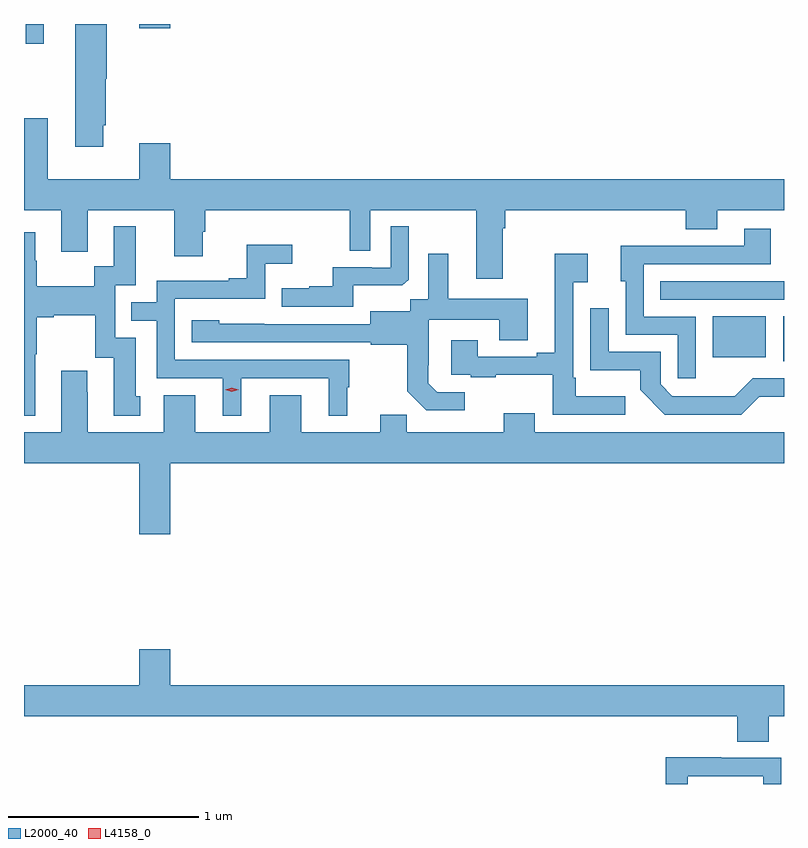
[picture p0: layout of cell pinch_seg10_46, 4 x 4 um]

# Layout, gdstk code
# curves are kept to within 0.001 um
import gdstk
lib = gdstk.Library(unit=1e-6, precision=1e-09)
def R(c, l, rs):  # rectangles x0, y0, x1, y1
    for r in rs: c.add(gdstk.rectangle(r[:2], r[2:], *l))
def P(c, l, *ps):  # polygons
    for p in ps: c.add(gdstk.Polygon(p, *l))
L2000_40 = (2000, 40)
L4158_0 = (4158, 0)

pinch_seg10_46 = lib.new_cell('pinch_seg10_46')
R(pinch_seg10_46, L2000_40, [(875.69,1295.525,875.693,1295.761), (875.318,1295.546,875.596,1295.761), (875.041,1295.85,875.693,1295.946), (871.701,1297.197,871.798,1297.3), (872.3,1297.278,872.464,1297.3)])
P(pinch_seg10_46, L2000_40, [(872.11,1296.766),(872.123,1296.766),(872.123,1297.011),(872.128,1297.011),(872.128,1297.3),(871.964,1297.3),(871.964,1296.654),(872.11,1296.654)],
  [(874.213,1296.224),(874.226,1296.224),(874.226,1296.32),(875.177,1296.32),(875.177,1296.221),(875.341,1296.221),(875.341,1296.32),(875.693,1296.32),(875.693,1296.484),(872.464,1296.484),(872.464,1296.673),(872.3,1296.673),(872.3,1296.484),(871.819,1296.484),(871.819,1296.805),(871.693,1296.805),(871.693,1296.32),(871.889,1296.32),(871.889,1296.102),(872.029,1296.102),(872.029,1296.32),(872.483,1296.32),(872.483,1296.078),(872.635,1296.078),(872.635,1296.207),(872.648,1296.207),(872.648,1296.32),(873.408,1296.32),(873.408,1296.106),(873.516,1296.106),(873.516,1296.32),(874.073,1296.32),(874.073,1295.958),(874.213,1295.958)],
  [(871.753,1295.563),(871.761,1295.563),(871.761,1295.756),(871.849,1295.756),(871.849,1295.768),(872.069,1295.768),(872.069,1295.544),(872.165,1295.544),(872.165,1295.238),(872.305,1295.238),(872.305,1295.34),(872.281,1295.34),(872.281,1295.649),(872.172,1295.649),(872.172,1295.925),(872.281,1295.925),(872.281,1296.235),(872.165,1296.235),(872.165,1296.026),(872.064,1296.026),(872.064,1295.92),(871.761,1295.92),(871.761,1296.054),(871.753,1296.054),(871.753,1296.205),(871.693,1296.205),(871.693,1295.237),(871.753,1295.237)],
  [(873.427,1295.924),(873.685,1295.924),(873.717,1295.955),(873.717,1296.235),(873.624,1296.235),(873.624,1296.018),(873.524,1296.018),(873.524,1296.021),(873.317,1296.021),(873.317,1295.92),(873.193,1295.92),(873.193,1295.908),(873.049,1295.908),(873.049,1295.811),(873.427,1295.811)],
  [(875.229,1295.76),(874.956,1295.76),(874.956,1296.036),(875.623,1296.036),(875.623,1296.223),(875.483,1296.223),(875.483,1296.132),(875.053,1296.132),(875.053,1296.134),(874.835,1296.134),(874.835,1295.946),(874.86,1295.946),(874.86,1295.664),(875.133,1295.664),(875.133,1295.436),(875.229,1295.436)],
  [(872.836,1295.436),(873.296,1295.436),(873.296,1295.237),(873.394,1295.237),(873.394,1295.388),(873.406,1295.388),(873.406,1295.532),(872.487,1295.532),(872.487,1295.853),(872.964,1295.853),(872.964,1296.038),(873.106,1296.038),(873.106,1296.137),(872.866,1296.137),(872.866,1295.962),(872.771,1295.962),(872.771,1295.949),(872.391,1295.949),(872.391,1295.835),(872.257,1295.835),(872.257,1295.739),(872.391,1295.739),(872.391,1295.436),(872.738,1295.436),(872.738,1295.237),(872.836,1295.237)],
  [(874.858,1295.341),(874.597,1295.341),(874.597,1295.437),(874.584,1295.437),(874.584,1295.942),(874.66,1295.942),(874.66,1296.091),(874.487,1296.091),(874.487,1295.569),(874.391,1295.569),(874.391,1295.55),(874.081,1295.55),(874.081,1295.635),(873.941,1295.635),(873.941,1295.454),(874.045,1295.454),(874.045,1295.442),(874.177,1295.442),(874.177,1295.453),(874.476,1295.453),(874.476,1295.244),(874.858,1295.244)],
  [(874.012,1295.361),(873.867,1295.361),(873.82,1295.408),(873.82,1295.503),(873.822,1295.503),(873.822,1295.744),(874.193,1295.744),(874.193,1295.635),(874.345,1295.635),(874.345,1295.854),(873.925,1295.854),(873.925,1296.091),(873.821,1296.091),(873.821,1295.852),(873.726,1295.852),(873.726,1295.788),(873.515,1295.788),(873.515,1295.721),(872.721,1295.722),(872.721,1295.74),(872.577,1295.74),(872.577,1295.625),(873.519,1295.625),(873.519,1295.613),(873.711,1295.613),(873.711,1295.367),(873.811,1295.267),(874.012,1295.267)],
  [(875.564,1295.339),(875.693,1295.339),(875.693,1295.436),(875.529,1295.436),(875.435,1295.342),(875.33,1295.342),(875.33,1295.34),(875.106,1295.34),(875.043,1295.403),(875.043,1295.574),(874.77,1295.574),(874.77,1295.803),(874.674,1295.803),(874.674,1295.477),(874.936,1295.477),(874.936,1295.375),(875.066,1295.244),(875.469,1295.244)],
  [(872.464,1294.988),(875.693,1294.988),(875.693,1295.152),(874.381,1295.152),(874.381,1295.251),(874.217,1295.251),(874.217,1295.152),(873.707,1295.152),(873.707,1295.243),(873.569,1295.243),(873.569,1295.152),(873.151,1295.152),(873.151,1295.347),(872.987,1295.347),(872.987,1295.152),(872.593,1295.152),(872.593,1295.347),(872.429,1295.347),(872.429,1295.152),(872.029,1295.152),(872.029,1295.363),(872.026,1295.363),(872.026,1295.476),(871.889,1295.476),(871.889,1295.152),(871.693,1295.152),(871.693,1294.988),(872.3,1294.988),(872.3,1294.614),(872.464,1294.614)],
  [(875.612,1293.656),(875.693,1293.656),(875.693,1293.82),(872.464,1293.82),(872.464,1294.009),(872.3,1294.009),(872.3,1293.82),(871.693,1293.82),(871.693,1293.656),(875.447,1293.656),(875.447,1293.523),(875.612,1293.523)],
  [(875.187,1293.342),(875.583,1293.342),(875.583,1293.3),(875.679,1293.3),(875.679,1293.438),(875.363,1293.438),(875.363,1293.44),(875.071,1293.44),(875.071,1293.3),(875.187,1293.3)])
P(pinch_seg10_46, L4158_0, [(872.787,1295.365),(872.751,1295.375),(872.751,1295.375),(872.751,1295.375),(872.787,1295.385),(872.823,1295.375),(872.823,1295.375),(872.823,1295.375)])

lib.write_gds('pinch_seg10_46.gds')
